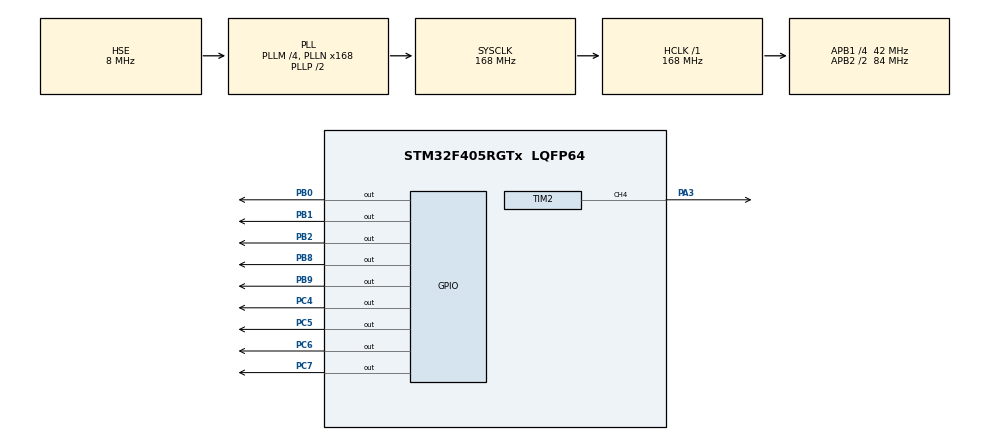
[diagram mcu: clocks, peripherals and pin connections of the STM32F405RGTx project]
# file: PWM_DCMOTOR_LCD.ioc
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Mcu.Family=STM32F4
Mcu.Name=STM32F405RGTx
Mcu.Package=LQFP64
NVIC.PriorityGroup=NVIC_PRIORITYGROUP_4
NVIC.TIM2_IRQn=true\:0\:0\:false\:false\:true\:true\:true
PA13.Mode=Serial_Wire
PA13.Signal=SYS_JTMS-SWDIO
PA14.Mode=Serial_Wire
PA14.Signal=SYS_JTCK-SWCLK
PA3.Signal=S_TIM2_CH4
PB0.Signal=GPIO_Output
PB1.Signal=GPIO_Output
PB2.Signal=GPIO_Output
PB8.Signal=GPIO_Output
PB9.Signal=GPIO_Output
PC4.Signal=GPIO_Output
PC5.Signal=GPIO_Output
PC6.Signal=GPIO_Output
PC7.Signal=GPIO_Output
PH0-OSC_IN.Mode=HSE-External-Oscillator
PH0-OSC_IN.Signal=RCC_OSC_IN
PH1-OSC_OUT.Mode=HSE-External-Oscillator
PH1-OSC_OUT.Signal=RCC_OSC_OUT
ProjectManager.HeapSize=0x200
ProjectManager.StackSize=0x400
ProjectManager.TargetToolchain=EWARM V8.32
RCC.48MHZClocksFreq_Value=84000000
RCC.AHBFreq_Value=168000000
RCC.APB1CLKDivider=RCC_HCLK_DIV4
RCC.APB1Freq_Value=42000000
RCC.APB1TimFreq_Value=84000000
RCC.APB2CLKDivider=RCC_HCLK_DIV2
RCC.APB2Freq_Value=84000000
RCC.APB2TimFreq_Value=168000000
RCC.CortexFreq_Value=168000000
RCC.HCLKFreq_Value=168000000
RCC.HSE_VALUE=8000000
RCC.HSI_VALUE=16000000
RCC.LSE_VALUE=32768
RCC.PLLM=4
RCC.PLLN=168
RCC.PLLSourceVirtual=RCC_PLLSOURCE_HSE
RCC.SYSCLKFreq_VALUE=168000000
RCC.SYSCLKSource=RCC_SYSCLKSOURCE_PLLCLK
RCC.VCOOutputFreq_Value=336000000
SH.S_TIM2_CH4.0=TIM2_CH4,PWM Generation4 CH4
TIM2.Channel-PWM\ Generation4\ CH4=TIM_CHANNEL_4
board=custom

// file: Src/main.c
/* USER CODE BEGIN Header */
/**
  ******************************************************************************
  * @file           : main.c
  * @brief          : Main program body
  ******************************************************************************
  * @attention
  *
  * <h2><center>&copy; Copyright (c) 2020 STMicroelectronics.
  * All rights reserved.</center></h2>
  *
  * This software component is licensed by ST under BSD 3-Clause license,
  * the "License"; You may not use this file except in compliance with the
  * License. You may obtain a copy of the License at:
  *                        opensource.org/licenses/BSD-3-Clause
  *
  ******************************************************************************
  */
/* USER CODE END Header */

#include "main.h"
#include "tim.h"
#include "gpio.h"

/* USER CODE BEGIN Includes */
#include "stdio.h"
#include "lcd.h"
/* USER CODE END Includes */

/* USER CODE BEGIN PV */
char str[17];
/* USER CODE END PV */

void SystemClock_Config(void);

int main(void)
{

  /* MCU Configuration--------------------------------------------------------*/

  /* Reset of all peripherals, Initializes the Flash interface and the Systick. */
  HAL_Init();

  /* Configure the system clock */
  SystemClock_Config();

  /* Initialize all configured peripherals */
  MX_GPIO_Init();
  MX_TIM2_Init();
  /* USER CODE BEGIN 2 */
  HAL_TIM_PWM_Start(&htim2, TIM_CHANNEL_4);
  lcdInit();
  unsigned int pwmduty = 0, cnt_dir = 0;
  uint16_t CCR4_val = 0;
  HAL_GPIO_WritePin(GPIOB, GPIO_PIN_8, GPIO_PIN_SET);
  HAL_GPIO_WritePin(GPIOB, GPIO_PIN_9, GPIO_PIN_RESET);
  /* USER CODE END 2 */
  /* Infinite loop */
  /* USER CODE BEGIN WHILE */
  while (1)
  {
    lcdClear();
    lcdGotoXY(0,0);
    sprintf(str, "Duty : %d\%", pwmduty);
    if(pwmduty>9) str[10]=0;
    else str[9]=0;
    TIM2->CCR4 = CCR4_val;
    if(cnt_dir){
      pwmduty--;
      CCR4_val--;
      if(pwmduty ==0) cnt_dir =0;
    }
    else{
      pwmduty++;
      CCR4_val++;
      if(pwmduty == 99) cnt_dir =1;
    }

    lcdPrint(str);
    HAL_Delay(500);
    /* USER CODE END WHILE */

  }
}

void SystemClock_Config(void)
{
  RCC_OscInitTypeDef RCC_OscInitStruct = {0};
  RCC_ClkInitTypeDef RCC_ClkInitStruct = {0};

  /** Configure the main internal regulator output voltage
  */
  __HAL_RCC_PWR_CLK_ENABLE();
  __HAL_PWR_VOLTAGESCALING_CONFIG(PWR_REGULATOR_VOLTAGE_SCALE1);
  /** Initializes the CPU, AHB and APB busses clocks
  */
  RCC_OscInitStruct.OscillatorType = RCC_OSCILLATORTYPE_HSE;
  RCC_OscInitStruct.HSEState = RCC_HSE_ON;
  RCC_OscInitStruct.PLL.PLLState = RCC_PLL_ON;
  RCC_OscInitStruct.PLL.PLLSource = RCC_PLLSOURCE_HSE;
  RCC_OscInitStruct.PLL.PLLM = 4;
  RCC_OscInitStruct.PLL.PLLN = 168;
  RCC_OscInitStruct.PLL.PLLP = RCC_PLLP_DIV2;
  RCC_OscInitStruct.PLL.PLLQ = 4;
  if (HAL_RCC_OscConfig(&RCC_OscInitStruct) != HAL_OK)
  {
    Error_Handler();
  }
  /** Initializes the CPU, AHB and APB busses clocks
  */
  RCC_ClkInitStruct.ClockType = RCC_CLOCKTYPE_HCLK|RCC_CLOCKTYPE_SYSCLK
                              |RCC_CLOCKTYPE_PCLK1|RCC_CLOCKTYPE_PCLK2;
  RCC_ClkInitStruct.SYSCLKSource = RCC_SYSCLKSOURCE_PLLCLK;
  RCC_ClkInitStruct.AHBCLKDivider = RCC_SYSCLK_DIV1;
  RCC_ClkInitStruct.APB1CLKDivider = RCC_HCLK_DIV4;
  RCC_ClkInitStruct.APB2CLKDivider = RCC_HCLK_DIV2;

  if (HAL_RCC_ClockConfig(&RCC_ClkInitStruct, FLASH_LATENCY_5) != HAL_OK)
  {
    Error_Handler();
  }
}

void Error_Handler(void)
{
}

/************************ (C) COPYRIGHT STMicroelectronics *****END OF FILE****/
